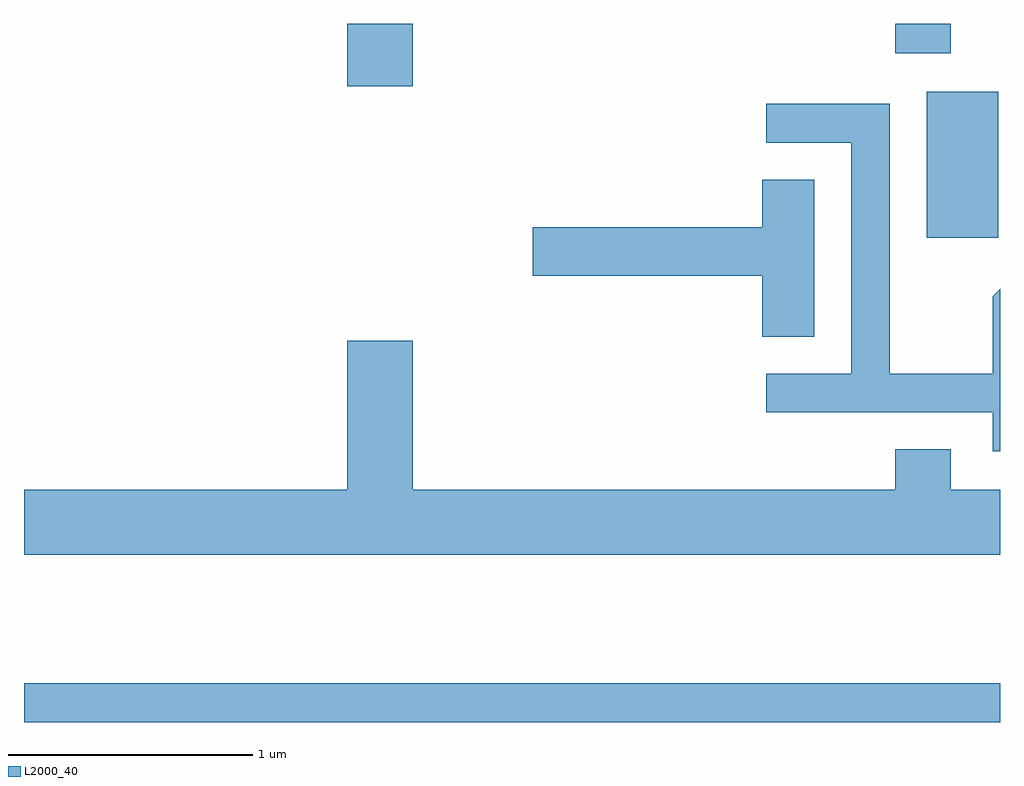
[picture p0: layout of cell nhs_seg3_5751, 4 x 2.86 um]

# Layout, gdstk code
import gdstk
lib = gdstk.Library(unit=1e-6, precision=1e-09)
def R(c, l, rs):  # rectangles x0, y0, x1, y1
    for r in rs: c.add(gdstk.rectangle(r[:2], r[2:], *l))
def P(c, l, *ps):  # polygons
    for p in ps: c.add(gdstk.Polygon(p, *l))
L2000_40 = (2000, 40)

nhs_seg3_5751 = lib.new_cell('nhs_seg3_5751')
R(nhs_seg3_5751, L2000_40, [(353.611,1203.031,357.611,1203.189), (357.311,1205.016,357.604,1205.614), (354.936,1205.636,355.204,1205.892), (357.181,1205.771,357.409,1205.892)])
P(nhs_seg3_5751, L2000_40, [(357.611,1204.807),(357.581,1204.777),(357.581,1204.459),(357.159,1204.459),(357.159,1205.564),(356.653,1205.564),(356.653,1205.406),(357.001,1205.406),(357.001,1204.459),(356.653,1204.459),(356.653,1204.301),(357.581,1204.301),(357.581,1204.141),(357.611,1204.141)],
  [(356.849,1205.254),(356.636,1205.254),(356.636,1205.059),(355.696,1205.059),(355.696,1204.861),(356.636,1204.861),(356.636,1204.611),(356.849,1204.611)],
  [(357.611,1203.984),(357.409,1203.984),(357.409,1204.149),(357.181,1204.149),(357.181,1203.984),(355.204,1203.984),(355.204,1204.594),(354.936,1204.594),(354.936,1203.984),(353.611,1203.984),(353.611,1203.716),(357.611,1203.716)])

lib.write_gds('nhs_seg3_5751.gds')
